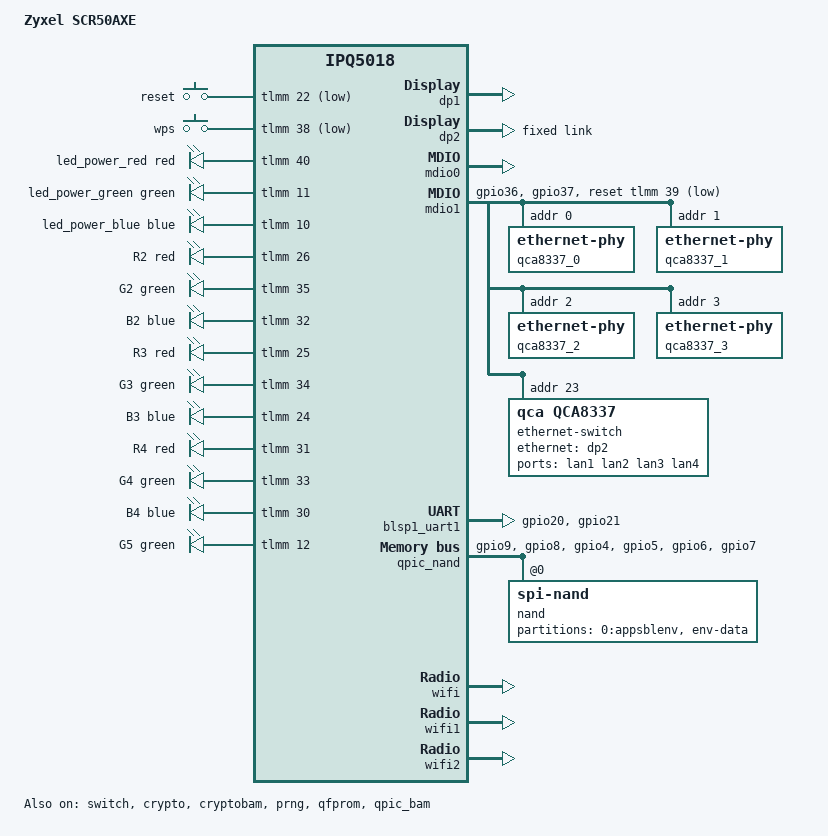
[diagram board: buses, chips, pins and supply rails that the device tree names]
// SPDX-License-Identifier: GPL-2.0-or-later OR MIT

/dts-v1/;

#include "ipq5018.dtsi"
#include "ipq5018-ess.dtsi"
#include "ipq5018-qcn6122.dtsi"

#include <dt-bindings/gpio/gpio.h>
#include <dt-bindings/input/input.h>
#include <dt-bindings/leds/common.h>

/ {
	model = "Zyxel SCR50AXE";
	compatible ="zyxel,scr50axe", "qcom,ipq5018";

	aliases {
		label-mac-device = &dp2;
		led-boot = &led_power_blue;
		led-failsafe = &led_power_red;
		led-upgrade = &led_power_green;
		led-running = &led_power_green;
		serial0 = &blsp1_uart1;
	};

	chosen {
		bootargs-append = " root=/dev/ubiblock0_1 swiotlb=1 coherent_pool=2M";
		stdout-path = "serial0:115200n8";
	};

	keys {
		compatible = "gpio-keys";
		pinctrl-0 = <&button_pins>;
		pinctrl-names = "default";

		reset {
			label = "reset";
			gpios = <&tlmm 22 GPIO_ACTIVE_LOW>;
			linux,code = <KEY_RESTART>;
		};

		wps {
			label = "wps";
			gpios = <&tlmm 38 GPIO_ACTIVE_LOW>;
			linux,code = <KEY_WPS_BUTTON>;
		};
	};

	leds {
		compatible = "gpio-leds";
		pinctrl-0 = <&leds_pins>;
		pinctrl-names = "default";

		led_power_red: R1 {
			color = <LED_COLOR_ID_RED>;
			function = LED_FUNCTION_POWER;
			gpios = <&tlmm 40 GPIO_ACTIVE_HIGH>;
		};

		led_power_green: G1 {
			color = <LED_COLOR_ID_GREEN>;
			function = LED_FUNCTION_POWER;
			gpios = <&tlmm 11 GPIO_ACTIVE_HIGH>;
		};

		led_power_blue: B1 {
			color = <LED_COLOR_ID_BLUE>;
			function = LED_FUNCTION_POWER;
			gpios = <&tlmm 10 GPIO_ACTIVE_HIGH>;
		};

		R2 {
			color = <LED_COLOR_ID_RED>;
			function = LED_FUNCTION_WAN;
			gpios = <&tlmm 26 GPIO_ACTIVE_HIGH>;
		};

		G2 {
			color = <LED_COLOR_ID_GREEN>;
			function = LED_FUNCTION_WAN;
			gpios = <&tlmm 35 GPIO_ACTIVE_HIGH>;
		};

		B2 {
			color = <LED_COLOR_ID_BLUE>;
			function = LED_FUNCTION_WAN;
			gpios = <&tlmm 32 GPIO_ACTIVE_HIGH>;
		};

		R3 {
			color = <LED_COLOR_ID_RED>;
			function = LED_FUNCTION_STATUS;
			gpios = <&tlmm 25 GPIO_ACTIVE_HIGH>;
		};

		G3 {
			color = <LED_COLOR_ID_GREEN>;
			function = LED_FUNCTION_STATUS;
			gpios = <&tlmm 34 GPIO_ACTIVE_HIGH>;
		};

		B3 {
			color = <LED_COLOR_ID_BLUE>;
			function = LED_FUNCTION_STATUS;
			gpios = <&tlmm 24 GPIO_ACTIVE_HIGH>;
		};

		R4 {
			color = <LED_COLOR_ID_RED>;
			function = LED_FUNCTION_WLAN_6GHZ;
			gpios = <&tlmm 31 GPIO_ACTIVE_HIGH>;
			linux,default-trigger = "phy2radio";
		};

		G4 {
			color = <LED_COLOR_ID_GREEN>;
			function = LED_FUNCTION_WLAN_2GHZ;
			gpios = <&tlmm 33 GPIO_ACTIVE_HIGH>;
			linux,default-trigger = "phy0radio";
		};

		B4 {
			color = <LED_COLOR_ID_BLUE>;
			function = LED_FUNCTION_WLAN_5GHZ;
			gpios = <&tlmm 30 GPIO_ACTIVE_HIGH>;
			linux,default-trigger = "phy1radio";
		};

		G5 {
			color = <LED_COLOR_ID_GREEN>;
			function = LED_FUNCTION_WPS;
			gpios = <&tlmm 12 GPIO_ACTIVE_HIGH>;
		};
	};
};

&switch {
	status = "okay";
	switch_mac_mode = <MAC_MODE_SGMII_CHANNEL0>;

	qcom,port_phyinfo {

		port@1 {
			port_id = <1>;
			mdiobus = <&mdio0>;
			phy_address = <7>;
		};

		port@2 {
			port_id = <2>;
			forced-speed = <1000>;
			forced-duplex = <1>;
		};
	};
};

&dp1 {
	status = "okay";

	label = "wan";
	nvmem-cells = <&macaddr_appsblenv_ethaddr 0>;
	nvmem-cell-names = "mac-address";
};

&dp2 {
	status = "okay";
	nvmem-cells = <&macaddr_appsblenv_ethaddr (-4)>;
	nvmem-cell-names = "mac-address";

	fixed-link {
		speed = <1000>;
		full-duplex;
	};
};

&mdio0 {
	status = "okay";
};

&mdio1 {
	status = "okay";
	pinctrl-0 = <&mdio1_pins>;
	pinctrl-names = "default";
	reset-gpios = <&tlmm 39 GPIO_ACTIVE_LOW>;

	qca8337_0: ethernet-phy@0 {
		reg = <0>;
	};

	qca8337_1: ethernet-phy@1 {
		reg = <1>;
	};

	qca8337_2: ethernet-phy@2 {
		reg = <2>;
	};

	qca8337_3: ethernet-phy@3 {
		reg = <3>;
	};

	ethernet-switch@17 {
		compatible = "qca,qca8337";
		reg = <0x17>;
		#address-cells = <1>;
		#size-cells = <0>;

		ports {
			#address-cells = <1>;
			#size-cells = <0>;

			port@1 {
				reg = <1>;
				label = "lan1";
				phy-handle = <&qca8337_0>;
			};

			port@2 {
				reg = <2>;
				label = "lan2";
				phy-handle = <&qca8337_1>;
			};

			port@3 {
				reg = <3>;
				label = "lan3";
				phy-handle = <&qca8337_2>;
			};

			port@4 {
				reg = <4>;
				label = "lan4";
				phy-handle = <&qca8337_3>;
			};

			port@6 {
				reg = <6>;
				phy-mode = "sgmii";
				ethernet = <&dp2>;
				qca,sgmii-enable-pll;

				fixed-link {
					speed = <1000>;
					full-duplex;
				};
			};
		};
	};
};

&sleep_clk {
	clock-frequency = <32000>;
};

&xo_board_clk {
	clock-div = <4>;
	clock-mult = <1>;
};

&blsp1_uart1 {
	status = "okay";
	pinctrl-0 = <&serial_0_pins>;
	pinctrl-names = "default";
};

&crypto {
	status = "okay";
};

&cryptobam {
	status = "okay";
};

&prng {
	status = "okay";
};

&qfprom {
	status = "okay";
};

&qpic_bam {
	status = "okay";
};

&qpic_nand {
	pinctrl-0 = <&qpic_pins>;
	pinctrl-names = "default";
	status = "okay";

	nand@0 {
		compatible = "spi-nand";
		reg = <0>;
		nand-ecc-engine = <&qpic_nand>;
		nand-bus-width = <8>;
		nand-ecc-strength = <4>;
		nand-ecc-step-size = <512>;
		
		partitions {
			compatible = "qcom,smem-part";

			partition-0-appsblenv {
				compatible = "fixed-partitions";
				label = "0:appsblenv";
				#address-cells = <1>;
				#size-cells = <1>;

				partition@0 {
					label = "env-data";
					reg = <0x0 0x40000>;

					nvmem-layout {
						compatible = "u-boot,env";

						macaddr_appsblenv_ethaddr: ethaddr {
							compatible = "mac-base";
							#nvmem-cell-cells = <1>;
						};
					};
				};
			};
		};
	};
};

&tlmm {
	mdio1_pins: mdio-state {
		mdc-pins {
			pins = "gpio36";
			function = "mdc";
			drive-strength = <8>;
			bias-pull-up;
		};

		mdio-pins {
			pins = "gpio37";
			function = "mdio";
			drive-strength = <8>;
			bias-pull-up;
		};
	};

	leds_pins: leds-pins {
		pins = "gpio26", "gpio35", "gpio32", "gpio25", "gpio34",
		       "gpio24", "gpio31", "gpio33", "gpio30", "gpio10",
		       "gpio11", "gpio12", "gpio40";
		function = "gpio";
		drive-strength = <8>;
		bias-pull-down;
	};

	button_pins: button-pins {
		pins = "gpio22", "gpio38";
		function = "gpio";
		drive-strength = <8>;
		bias-pull-up;
	};

	qpic_pins: qpic-state {
		clock-pins {
			pins = "gpio9";
			function = "qspi_clk";
			drive-strength = <8>;
			bias-disable;
		};

		cs-pins {
			pins = "gpio8";
			function = "qspi_cs";
			drive-strength = <8>;
			bias-disable;
		};

		data-pins {
			pins = "gpio4", "gpio5", "gpio6", "gpio7";
			function = "qspi_data";
			drive-strength = <8>;
			bias-disable;
		};
	};

	serial_0_pins: uart0-state {
		pins =
			"gpio20", // RX
			"gpio21"; // TX
		function = "blsp0_uart0";
		drive-strength = <8>;
		bias-disable;
	};
};

&q6_region {
	reg = <0x0 0x4b000000 0x0 0x4d00000>;
};

&wifi {
	status = "okay";

	qcom,rproc = <&q6_wcss_pd1>;
	qcom,userpd-subsys-name = "q6v5_wcss_userpd1";
	qcom,ath11k-calibration-variant = "Zyxel-SCR50AXE";
	qcom,ath11k-fw-memory-mode = <1>;
	qcom,bdf-addr = <0x4c400000>;
};

&wifi1 {
	status = "okay";

	qcom,rproc = <&q6_wcss_pd2>;
	qcom,userpd-subsys-name = "q6v5_wcss_userpd2";
	qcom,ath11k-calibration-variant = "Zyxel-SCR50AXE-5G";
	qcom,ath11k-fw-memory-mode = <1>;
	qcom,bdf-addr = <0x4d100000>;
	qcom,m3-dump-addr = <0x4df00000>;
};

&wifi2 {
	status = "okay";

	qcom,rproc = <&q6_wcss_pd3>;
	qcom,userpd-subsys-name = "q6v5_wcss_userpd3";
	qcom,ath11k-calibration-variant = "Zyxel-SCR50AXE-6G";
	qcom,ath11k-fw-memory-mode = <1>;
	qcom,bdf-addr = <0x4e500000>;
	qcom,m3-dump-addr = <0x4f200000>;
};
